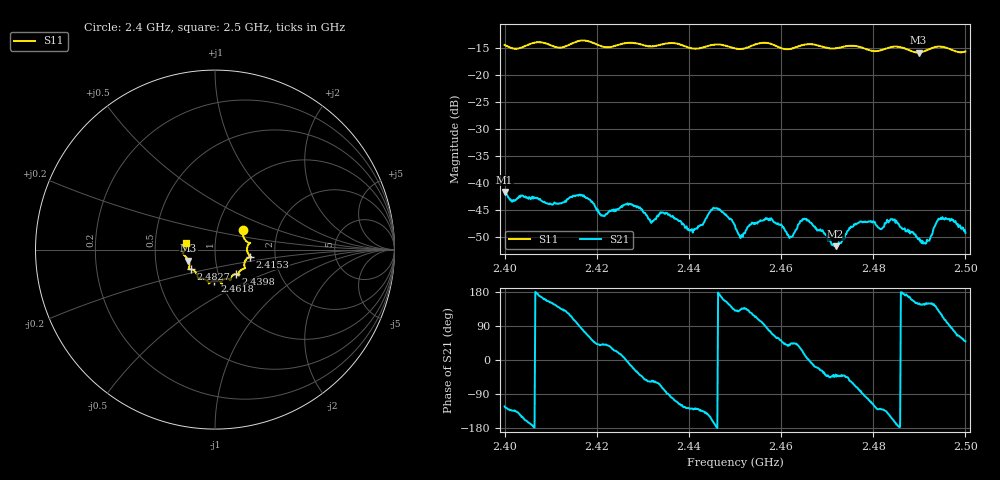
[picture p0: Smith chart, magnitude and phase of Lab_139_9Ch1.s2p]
# Hz S RI R 50
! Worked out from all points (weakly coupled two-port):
!   601 points, 2.4 GHz to 2.5 GHz, reference 50 ohm
!   highest |S21| = -41.75 dB at 2.4 GHz (marker M1); lowest = -51.8 dB at 2.4718 GHz (marker M2)
!   lowest |S11| = -15.9 dB at 2.4898 GHz (marker M3), VSWR 1.38, Z = 36.9 - j4.62 ohm
!   |S11| at or under -10 dB: start of sweep to end of sweep
!   S12 and S22 are empty: the file has one direction only
!   S11 on the Smith chart (normalised r, x): 2.4 GHz: 1.33, +0.29; 2.4153 GHz: 1.48, -0.12; 2.4398 GHz: 1.21, -0.34; 2.4618 GHz: 0.94, -0.33; 2.4827 GHz: 0.75, -0.17; 2.5 GHz: 0.72, +0.06
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2.4e9  0.1551 0.1064  -0.00438 -0.00691  0 0  0 0
2.41e9  0.1854 0.0268  -0.00559 0.00295  0 0  0 0
2.415333e9  0.1965 -0.0388  -0.00164 0.00729  0 0  0 0
2.416667e9  0.2026 -0.0429  0.000927 0.00763  0 0  0 0
2.421167e9  0.1742 -0.0549  0.00377 0.00326  0 0  0 0
2.426833e9  0.1684 -0.1028  0.00617 -0.000743  0 0  0 0
2.433333e9  0.1309 -0.1337  0.00235 -0.00426  0 0  0 0
2.439833e9  0.1156 -0.1361  -0.00222 -0.00299  0 0  0 0
2.445667e9  0.0845 -0.1702  -0.00569 -0.000931  0 0  0 0
2.45e9  0.0654 -0.1624  -0.00258 0.00307  0 0  0 0
2.451333e9  0.0506 -0.1652  -0.00221 0.00226  0 0  0 0
2.4575e9  0.0388 -0.1905  0.0011 0.00452  0 0  0 0
2.461833e9  -0.00298 -0.1724  0.0024 0.00191  0 0  0 0
2.466667e9  -0.0343 -0.1881  0.00413 -0.000612  0 0  0 0
2.471833e9  -0.0678 -0.1617  0.00202 -0.0016  0 0  0 0
2.477e9  -0.0961 -0.1535  0.000831 -0.00419  0 0  0 0
2.482667e9  -0.1352 -0.1093  -0.00293 -0.00299  0 0  0 0
2.483333e9  -0.1403 -0.1089  -0.00343 -0.00256  0 0  0 0
2.489833e9  -0.148 -0.061  -0.00253 0.00157  0 0  0 0
2.491833e9  -0.1661 -0.0359  -0.00248 0.00151  0 0  0 0
2.494667e9  -0.1804 -0.0206  -0.00244 0.00403  0 0  0 0
2.5e9  -0.1593 0.0387  0.00222 0.00261  0 0  0 0
